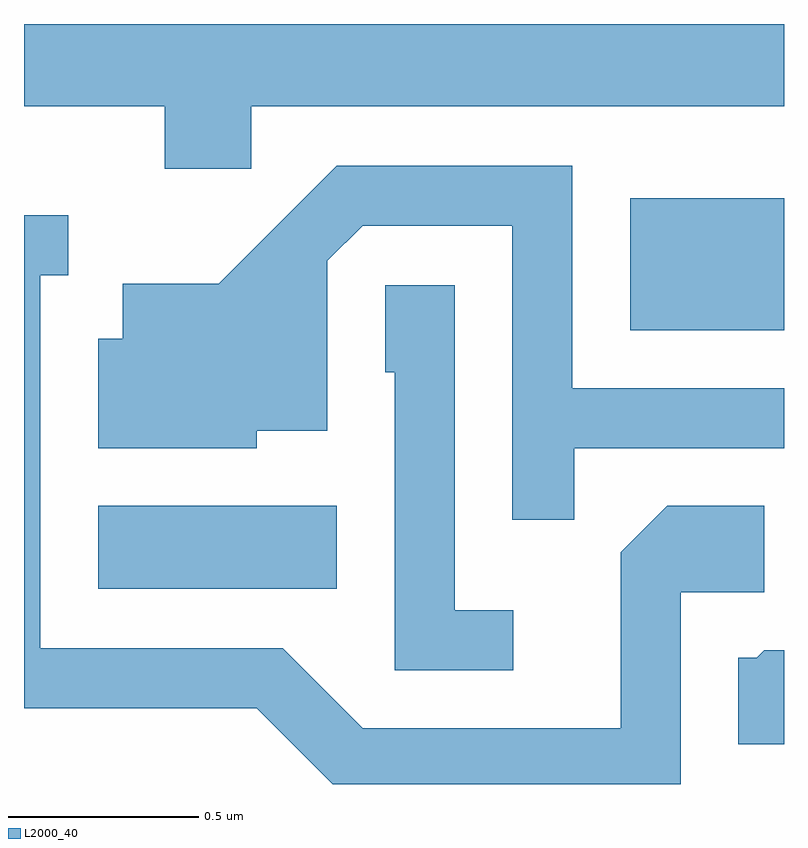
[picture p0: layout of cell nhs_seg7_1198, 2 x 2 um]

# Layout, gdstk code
import gdstk
lib = gdstk.Library(unit=1e-6, precision=1e-09)
def R(c, l, rs):  # rectangles x0, y0, x1, y1
    for r in rs: c.add(gdstk.rectangle(r[:2], r[2:], *l))
def P(c, l, *ps):  # polygons
    for p in ps: c.add(gdstk.Polygon(p, *l))
L2000_40 = (2000, 40)

nhs_seg7_1198 = lib.new_cell('nhs_seg7_1198')
R(nhs_seg7_1198, L2000_40, [(193.806,1770.766,194.434,1770.984), (195.206,1771.446,195.611,1771.794)])
P(nhs_seg7_1198, L2000_40, [(194.209,1772.036),(195.611,1772.036),(195.611,1772.252),(193.611,1772.252),(193.611,1772.036),(193.981,1772.036),(193.981,1771.871),(194.209,1771.871)],
  [(195.059,1771.136),(195.611,1771.136),(195.611,1771.294),(195.054,1771.294),(195.054,1771.879),(194.434,1771.879),(194.124,1771.569),(193.871,1771.569),(193.871,1771.424),(193.806,1771.424),(193.806,1771.136),(194.224,1771.136),(194.224,1771.181),(194.409,1771.181),(194.409,1771.629),(194.502,1771.721),(194.896,1771.721),(194.896,1770.948),(195.059,1770.948)],
  [(195.339,1770.756),(195.559,1770.756),(195.559,1770.984),(195.304,1770.984),(195.181,1770.862),(195.181,1770.399),(194.502,1770.399),(194.292,1770.609),(193.654,1770.609),(193.654,1771.591),(193.728,1771.591),(193.728,1771.749),(193.611,1771.749),(193.611,1770.451),(194.224,1770.451),(194.423,1770.252),(195.339,1770.252)],
  [(194.898,1770.709),(194.744,1770.709),(194.744,1771.564),(194.561,1771.564),(194.561,1771.336),(194.586,1771.336),(194.586,1770.551),(194.898,1770.551)],
  [(195.611,1770.604),(195.559,1770.604),(195.539,1770.584),(195.491,1770.584),(195.491,1770.356),(195.611,1770.356)])

lib.write_gds('nhs_seg7_1198.gds')
